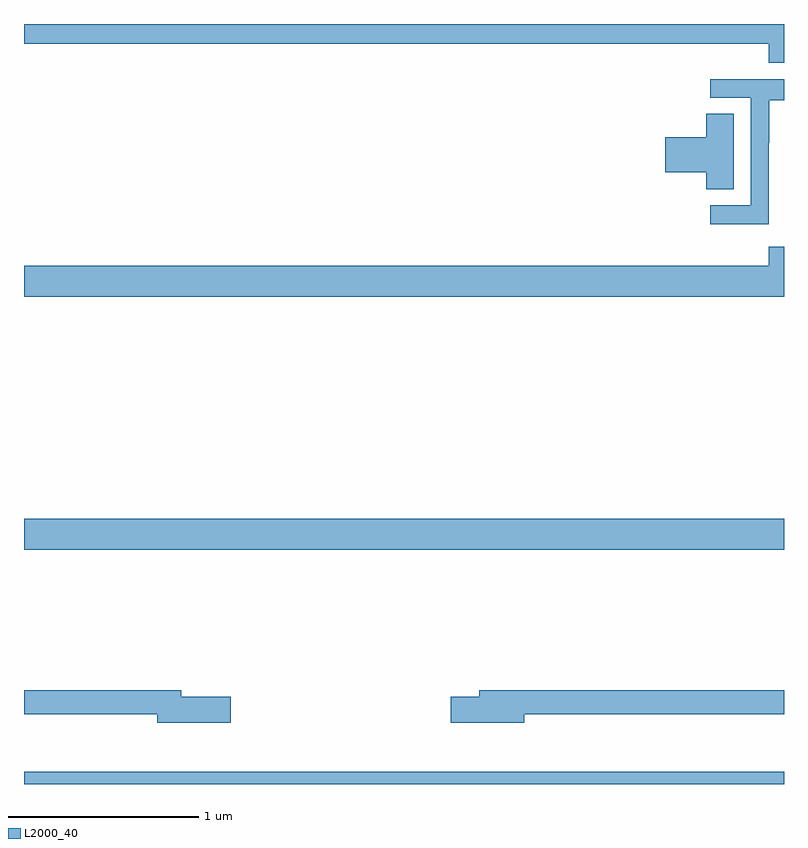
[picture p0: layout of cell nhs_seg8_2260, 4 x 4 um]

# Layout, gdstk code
import gdstk
lib = gdstk.Library(unit=1e-6, precision=1e-09)
def R(c, l, rs):  # rectangles x0, y0, x1, y1
    for r in rs: c.add(gdstk.rectangle(r[:2], r[2:], *l))
def P(c, l, *ps):  # polygons
    for p in ps: c.add(gdstk.Polygon(p, *l))
L2000_40 = (2000, 40)

nhs_seg8_2260 = lib.new_cell('nhs_seg8_2260')
R(nhs_seg8_2260, L2000_40, [(253,1149.9,257,1149.964), (253,1151.132,257,1151.296)])
P(nhs_seg8_2260, L2000_40, [(257,1153.9),(253,1153.9),(253,1153.796),(256.919,1153.796),(256.919,1153.697),(257,1153.697)],
  [(256.92,1153.276),(256.923,1153.276),(256.923,1153.5),(257,1153.5),(257,1153.608),(256.611,1153.608),(256.611,1153.512),(256.824,1153.512),(256.824,1152.945),(256.611,1152.945),(256.611,1152.847),(256.92,1152.847)],
  [(256.735,1153.427),(256.592,1153.427),(256.592,1153.304),(256.374,1153.304),(256.374,1153.121),(256.592,1153.121),(256.592,1153.03),(256.735,1153.03)],
  [(257,1152.727),(256.919,1152.727),(256.919,1152.628),(253,1152.628),(253,1152.464),(257,1152.464)],
  [(255.634,1150.266),(257,1150.266),(257,1150.394),(255.395,1150.394),(255.395,1150.358),(255.246,1150.358),(255.246,1150.223),(255.634,1150.223)],
  [(254.089,1150.358),(253.828,1150.358),(253.828,1150.394),(253,1150.394),(253,1150.266),(253.7,1150.266),(253.7,1150.223),(254.089,1150.223)])

lib.write_gds('nhs_seg8_2260.gds')
